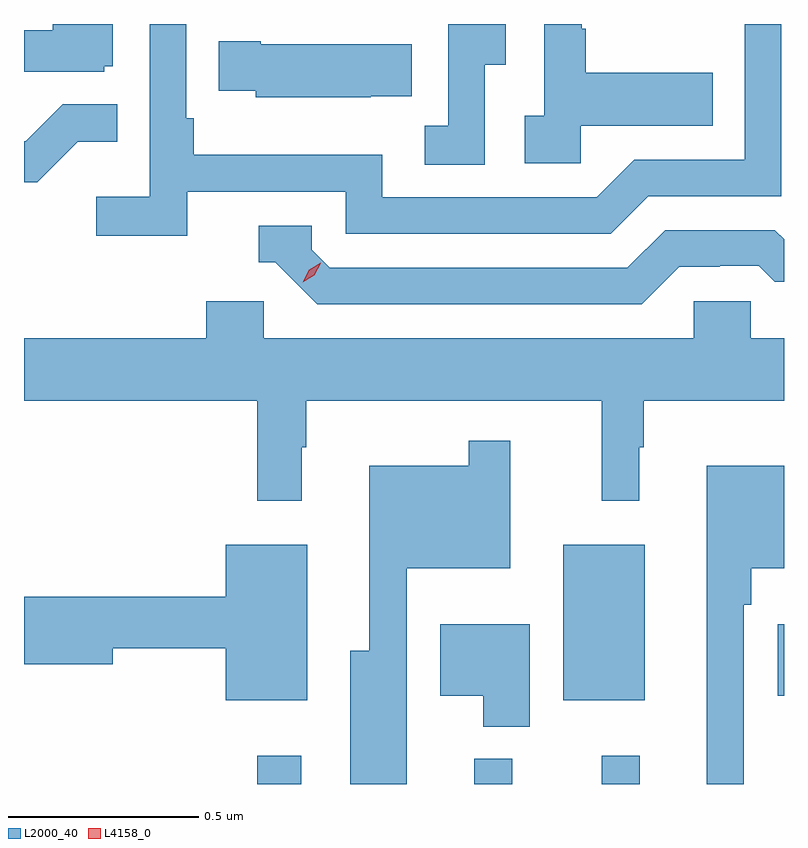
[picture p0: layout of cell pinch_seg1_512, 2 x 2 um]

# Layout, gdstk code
import gdstk
lib = gdstk.Library(unit=1e-6, precision=1e-09)
def R(c, l, rs):  # rectangles x0, y0, x1, y1
    for r in rs: c.add(gdstk.rectangle(r[:2], r[2:], *l))
def P(c, l, *ps):  # polygons
    for p in ps: c.add(gdstk.Polygon(p, *l))
L2000_40 = (2000, 40)
L4158_0 = (4158, 0)

pinch_seg1_512 = lib.new_cell('pinch_seg1_512')
R(pinch_seg1_512, L2000_40, [(1130.251,537.403,1130.367,537.478), (1130.822,537.403,1130.922,537.469), (1131.157,537.403,1131.257,537.478), (1131.056,537.623,1131.271,538.033), (1131.62,537.635,1131.637,537.823)])
P(pinch_seg1_512, L2000_40, [(1131.102,539.135),(1131.449,539.135),(1131.449,539.275),(1131.115,539.275),(1131.115,539.39),(1131.105,539.39),(1131.105,539.403),(1131.006,539.403),(1131.006,539.162),(1130.955,539.162),(1130.955,539.037),(1131.102,539.037)],
  [(1130.066,538.962),(1130.484,538.962),(1130.484,538.851),(1131.181,538.851),(1131.28,538.95),(1131.63,538.95),(1131.63,539.403),(1131.534,539.403),(1131.534,539.046),(1131.243,539.046),(1131.144,538.947),(1130.58,538.947),(1130.58,539.059),(1130.084,539.059),(1130.084,539.155),(1130.064,539.155),(1130.064,539.403),(1129.968,539.403),(1129.968,538.948),(1129.827,538.948),(1129.827,538.846),(1130.066,538.846)],
  [(1129.848,539.292),(1129.87,539.292),(1129.87,539.403),(1129.712,539.403),(1129.712,539.386),(1129.637,539.386),(1129.637,539.277),(1129.848,539.277)],
  [(1130.85,539.296),(1130.905,539.296),(1130.905,539.403),(1130.754,539.403),(1130.754,539.135),(1130.691,539.135),(1130.691,539.032),(1130.85,539.032)],
  [(1130.549,539.213),(1130.657,539.213),(1130.657,539.35),(1130.26,539.35),(1130.26,539.358),(1130.149,539.358),(1130.149,539.228),(1130.247,539.228),(1130.247,539.21),(1130.549,539.21)],
  [(1129.779,539.093),(1129.883,539.093),(1129.883,539.192),(1129.739,539.192),(1129.641,539.094),(1129.637,539.094),(1129.637,538.986),(1129.672,538.986)],
  [(1131.361,538.764),(1131.468,538.764),(1131.468,538.767),(1131.571,538.767),(1131.613,538.725),(1131.637,538.725),(1131.637,538.836),(1131.613,538.86),(1131.324,538.86),(1131.225,538.761),(1130.442,538.761),(1130.394,538.809),(1130.394,538.872),(1130.255,538.872),(1130.255,538.776),(1130.298,538.776),(1130.409,538.665),(1131.262,538.665)],
  [(1130.368,538.289),(1130.38,538.289),(1130.38,538.412),(1131.157,538.412),(1131.157,538.149),(1131.256,538.149),(1131.256,538.289),(1131.268,538.289),(1131.268,538.412),(1131.637,538.412),(1131.637,538.576),(1131.549,538.576),(1131.549,538.674),(1131.399,538.674),(1131.399,538.576),(1130.268,538.576),(1130.268,538.674),(1130.117,538.674),(1130.117,538.576),(1129.637,538.576),(1129.637,538.412),(1130.251,538.412),(1130.251,538.149),(1130.368,538.149)],
  [(1130.644,537.971),(1130.916,537.971),(1130.916,538.306),(1130.808,538.306),(1130.808,538.24),(1130.546,538.24),(1130.546,537.754),(1130.495,537.754),(1130.495,537.403),(1130.644,537.403)],
  [(1131.531,537.875),(1131.551,537.875),(1131.551,537.971),(1131.637,537.971),(1131.637,538.24),(1131.434,538.24),(1131.434,537.403),(1131.531,537.403)],
  [(1130.383,538.033),(1130.168,538.033),(1130.168,537.896),(1129.637,537.896),(1129.637,537.718),(1129.87,537.718),(1129.87,537.76),(1130.168,537.76),(1130.168,537.623),(1130.383,537.623)],
  [(1130.968,537.823),(1130.732,537.823),(1130.732,537.635),(1130.846,537.635),(1130.846,537.554),(1130.968,537.554)])
P(pinch_seg1_512, L4158_0, [(1130.37,538.723),(1130.37,538.724),(1130.387,538.756),(1130.418,538.775),(1130.418,538.775),(1130.418,538.774),(1130.401,538.742),(1130.37,538.723)])

lib.write_gds('pinch_seg1_512.gds')
